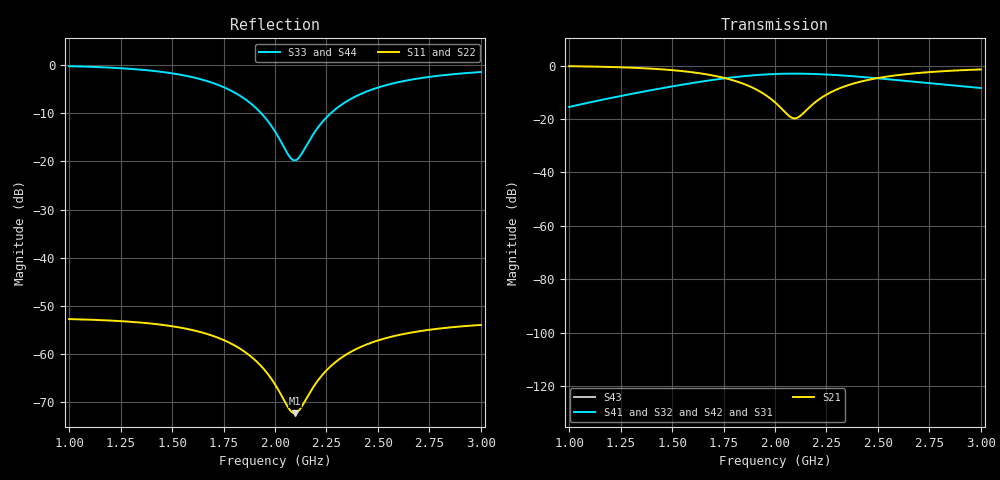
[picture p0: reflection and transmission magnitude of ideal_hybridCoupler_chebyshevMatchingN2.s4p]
! TOUCHSTONE file generated by CST DESIGN STUDIO
! Date and time: Tue Mar 24 10:07:48 2026
! Project name: C:\Users\ilya\AppData\Local\Temp\CSTDE1\Temp\DE25\Untitled_0.cst
! Tree item: Tasks\SPara1\S-Parameters
! Header version: 2024
! Port assignment regex: !\s*Touchstone port\s*([0-9]+)\s*=\s*(CST MWS port|CST DES external port|CST DES block port)\s*(.+)\s* \(\"(.*)\"\)(\s*mode\s*([0-9]+))?.*
! Touchstone port assignment:
! Touchstone port 1 = CST DES external port 1 ("")
! Touchstone port 2 = CST DES external port 2 ("")
! Touchstone port 3 = CST DES external port 3 ("")
! Touchstone port 4 = CST DES external port 4 ("")
# GHz S MA R 50
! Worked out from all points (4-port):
!   1001 points, 1 GHz to 3 GHz, reference 50 ohm
!   strongest paths, dB at 1 GHz, 1.5 GHz, 2 GHz, 2.5 GHz, 3 GHz:
!     S21: -0.2, -1.7, -13.8, -4.7, -1.5
!     S41: -15.5, -7.8, -3.2, -4.8, -8.4
!     S32: -15.5, -7.8, -3.2, -4.8, -8.4
!     S42: -15.5, -7.8, -3.2, -4.8, -8.4
!     S31: -15.5, -7.8, -3.2, -4.8, -8.4
!     S43: -, -, -, -, -
!   lowest |S11| = -72.3 dB at 2.096 GHz (marker M1), VSWR 1.00, Z = 50 - j0.00789 ohm
!   |S11| at or under -10 dB: start of sweep to end of sweep
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1  0.002307 -162.6  0.9717 107.4  0.1669 -161.9  0.1673 -71.9
   0.9717 107.4  0.002307 -162.6  0.1673 -71.9  0.1669 -161.9
   0.1669 -161.9  0.1673 -71.9  0.9717 -161.3  9.348e-18 -31.9
   0.1673 -71.9  0.1669 -161.9  1.783e-18 122.5  0.9717 -161.3
1.32  0.002146 161.7  0.9039 71.7  0.3021 -174.8  0.3028 -84.8
      0.9039 71.7  0.002146 161.7  0.3028 -84.8  0.3021 -174.8
      0.3021 -174.8  0.3028 -84.8  0.9039 -151.3  2.672e-17 -75.7
      0.3028 -84.8  0.3021 -174.8  4.468e-24 73.6  0.9039 -151.3
1.568  0.001833 140.8  0.7721 50.8  0.4488 -179.7  0.4499 -89.7
       0.7721 50.8  0.001833 140.8  0.4499 -89.7  0.4488 -179.7
       0.4488 -179.7  0.4499 -89.7  0.7721 -140.2  7.765e-17 -93.4
       0.4499 -89.7  0.4488 -179.7  1.482e-22 73.6  0.7721 -140.2
1.872  0.0009855 130.1  0.4151 40.1  0.6426 -176.9  0.6441 -86.9
       0.4151 40.1  0.0009855 130.1  0.6441 -86.9  0.6426 -176.9
       0.6426 -176.9  0.6441 -86.9  0.4151 -123.9  1.307e-16 -96.3
       0.6441 -86.9  0.6426 -176.9  4.343e-20 -107.8  0.4151 -123.9
2.096  0.0002428 -161.0  0.1023 109.0  0.7026 -170.3  0.7042 -80.3
       0.1023 109.0  0.0002428 -161.0  0.7042 -80.3  0.7026 -170.3
       0.7026 -170.3  0.7042 -80.3  0.1023 -179.6  2.164e-16 -78.0
       0.7042 -80.3  0.7026 -170.3  1.292e-17 77.8  0.1023 -179.6
2.402  0.001148 -97.0  0.4836 173.0  0.6182 -164.7  0.6197 -74.7
       0.4836 173.0  0.001148 -97.0  0.6197 -74.7  0.6182 -164.7
       0.6182 -164.7  0.6197 -74.7  0.4836 127.6  6.062e-16 -15.8
       0.6197 -74.7  0.6182 -164.7  1.147e-16 68.2  0.4836 127.6
3  0.002006 -134.6  0.8447 135.4  0.378 -174.2  0.3789 -84.2
   0.8447 135.4  0.002006 -134.6  0.3789 -84.2  0.378 -174.2
   0.378 -174.2  0.3789 -84.2  0.8447 146.1  2.273e-17 -85.4
   0.3789 -84.2  0.378 -174.2  1.342e-17 77.9  0.8447 146.1
